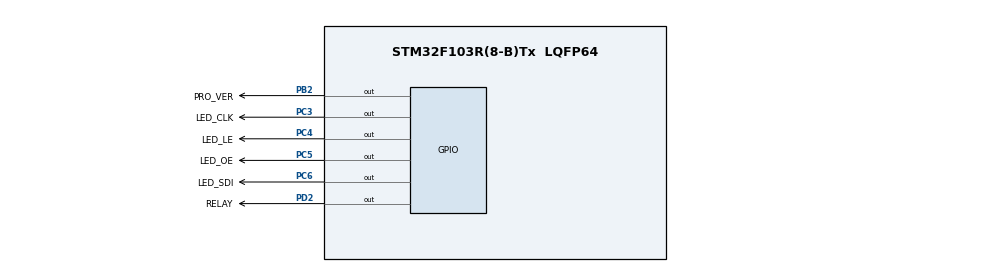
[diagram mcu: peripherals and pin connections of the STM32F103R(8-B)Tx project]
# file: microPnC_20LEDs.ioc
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Mcu.Family=STM32F1
Mcu.Name=STM32F103R(8-B)Tx
Mcu.Package=LQFP64
NVIC.PriorityGroup=NVIC_PRIORITYGROUP_4
NVIC.TIM2_IRQn=true\:0\:0\:false\:false\:true\:true\:true\:true
NVIC.TIM4_IRQn=true\:0\:0\:false\:false\:true\:true\:true\:true
PB10.Signal=USART3_TX
PB11.Signal=USART3_RX
PB2.GPIO_Label=PRO_VER
PB2.Signal=GPIO_Output
PC3.GPIO_Label=LED_CLK
PC3.Signal=GPIO_Output
PC4.GPIO_Label=LED_LE
PC4.Signal=GPIO_Output
PC5.GPIO_Label=LED_OE
PC5.Signal=GPIO_Output
PC6.GPIO_Label=LED_SDI
PC6.Signal=GPIO_Output
PD2.GPIO_Label=RELAY
PD2.Signal=GPIO_Output
ProjectManager.HeapSize=0x200
ProjectManager.StackSize=0x400
ProjectManager.TargetToolchain=STM32CubeIDE
RCC.AHBFreq_Value=8000000
RCC.APB1Freq_Value=8000000
RCC.APB1TimFreq_Value=8000000
RCC.APB2Freq_Value=8000000
RCC.APB2TimFreq_Value=8000000
RCC.HCLKFreq_Value=8000000
RCC.USBFreq_Value=8000000
TIM2.Period=9
TIM2.Prescaler=7999
TIM4.Period=499
TIM4.Prescaler=799
VP_TIM2_VS_ClockSourceINT.Mode=Internal
VP_TIM4_VS_ClockSourceINT.Mode=Internal
board=custom

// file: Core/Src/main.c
/* USER CODE BEGIN Header */
/**
  ******************************************************************************
  * @file           : main.c
  * @brief          : Main program body
  ******************************************************************************
  * @attention
  *
  * Copyright (c) 2022 STMicroelectronics.
  * All rights reserved.
  *
  * This software is licensed under terms that can be found in the LICENSE file
  * in the root directory of this software component.
  * If no LICENSE file comes with this software, it is provided AS-IS.
  *
  ******************************************************************************
  */
#include "buffer_manip.h"
#include "software_timer.h"
//#include "button_trigger.h"
/* USER CODE END Header */
#include "main.h"
#include "tim.h"
#include "gpio.h"

/* USER CODE BEGIN PD */
#define RELAY			 			PD2
#define LED_SDI 					PC6
#define LED_OE 						PC5
#define LED_CLK 					PC3
#define LED_LE 						PC4
#define PRO_VER						PB2

/* USER CODE END PD */

/* USER CODE BEGIN PM */
#define NUMBER_OF_LED				20
/* USER CODE END PM */

/* USER CODE BEGIN PV */
static uint8_t ledDriverBuffer[NUMBER_OF_LED] = {0,0,0,0,0,0,0,0,0,0,0,0,0,0,0,0,0,0,0,0};
/* USER CODE END PV */

void SystemClock_Config(void);
/* USER CODE BEGIN PFP */
void Led_Display(void);
void Update_Led_Driver_Buffer(void);
/* USER CODE END PFP */

int main(void)
{

  /* MCU Configuration--------------------------------------------------------*/

  /* Reset of all peripherals, Initializes the Flash interface and the Systick. */
  HAL_Init();

  /* Configure the system clock */
  SystemClock_Config();

  /* Initialize all configured peripherals */
  MX_GPIO_Init();
  MX_TIM2_Init();
  MX_TIM4_Init();
  /* USER CODE BEGIN 2 */
  HAL_TIM_Base_Start_IT(&htim2);
  HAL_TIM_Base_Start_IT(&htim4);
  Output_Enable();
  Relay_Enable();
  /* USER CODE END 2 */

  /* Infinite loop */
  /* USER CODE BEGIN WHILE */
  Set_Timer();
  while (1)
  {
	  if (Flag_Status() == 1){
		  Set_Timer();
		  Update_Led_Driver_Buffer();
		  Led_Display();
	  }
    /* USER CODE END WHILE */

  }
}

void SystemClock_Config(void)
{
  RCC_OscInitTypeDef RCC_OscInitStruct = {0};
  RCC_ClkInitTypeDef RCC_ClkInitStruct = {0};

  /** Initializes the RCC Oscillators according to the specified parameters
  * in the RCC_OscInitTypeDef structure.
  */
  RCC_OscInitStruct.OscillatorType = RCC_OSCILLATORTYPE_HSI;
  RCC_OscInitStruct.HSIState = RCC_HSI_ON;
  RCC_OscInitStruct.HSICalibrationValue = RCC_HSICALIBRATION_DEFAULT;
  RCC_OscInitStruct.PLL.PLLState = RCC_PLL_NONE;
  if (HAL_RCC_OscConfig(&RCC_OscInitStruct) != HAL_OK)
  {
    Error_Handler();
  }

  /** Initializes the CPU, AHB and APB buses clocks
  */
  RCC_ClkInitStruct.ClockType = RCC_CLOCKTYPE_HCLK|RCC_CLOCKTYPE_SYSCLK
                              |RCC_CLOCKTYPE_PCLK1|RCC_CLOCKTYPE_PCLK2;
  RCC_ClkInitStruct.SYSCLKSource = RCC_SYSCLKSOURCE_HSI;
  RCC_ClkInitStruct.AHBCLKDivider = RCC_SYSCLK_DIV1;
  RCC_ClkInitStruct.APB1CLKDivider = RCC_HCLK_DIV1;
  RCC_ClkInitStruct.APB2CLKDivider = RCC_HCLK_DIV1;

  if (HAL_RCC_ClockConfig(&RCC_ClkInitStruct, FLASH_LATENCY_0) != HAL_OK)
  {
    Error_Handler();
  }
}

/* USER CODE BEGIN 4 */
void Led_Display(void){
	Latch_Disable();
	for (uint8_t iter = 0; iter < NUMBER_OF_LED; iter++){
		Clock_Off(1);
		Data_Out(ledDriverBuffer[iter]);
		Clock_On(10);
	}
	Latch_Enable();
}
void Update_Led_Driver_Buffer(void){
	//Single_Led_Blink(ledDriverBuffer, NUMBER_OF_LED);
	//All_Led_On(ledDriverBuffer, NUMBER_OF_LED);
	//All_Red_On(ledDriverBuffer, NUMBER_OF_LED);
	//All_Green_On(ledDriverBuffer, NUMBER_OF_LED);
	All_Red_Blink(ledDriverBuffer, NUMBER_OF_LED);
	//All_Green_Blink(ledDriverBuffer, NUMBER_OF_LED);
	//Red_Moving_Forward(ledDriverBuffer, NUMBER_OF_LED);
	//Green_Moving_Forward(ledDriverBuffer, NUMBER_OF_LED);
	//Green_Moving_Backward(ledDriverBuffer, NUMBER_OF_LED);
	//Red_Moving_Backward(ledDriverBuffer, NUMBER_OF_LED);
	//Red_Backward_Green_Forward(ledDriverBuffer, NUMBER_OF_LED);
	//Red_Forward_Green_Backward(ledDriverBuffer, NUMBER_OF_LED);
	//All_Led_Moving_Backward(ledDriverBuffer, NUMBER_OF_LED);
	//All_Led_Moving_Forward(ledDriverBuffer, NUMBER_OF_LED);
	//Red_Moving_Middle(ledDriverBuffer, NUMBER_OF_LED);
	//Green_Moving_Middle(ledDriverBuffer, NUMBER_OF_LED);
	//All_Led_Moving_Middle(ledDriverBuffer,NUMBER_OF_LED);
	//Red_Cummulative_Forward(ledDriverBuffer, NUMBER_OF_LED);
	//Red_Cummulative_Backward(ledDriverBuffer, NUMBER_OF_LED);
	//Green_Cummulative_Forward(ledDriverBuffer, NUMBER_OF_LED);
	//Green_Cummulative_Backward(ledDriverBuffer, NUMBER_OF_LED);
	//Red_Forward_Green_Backward_Cumm(ledDriverBuffer, NUMBER_OF_LED);
	//Red_Backward_Green_Forward_Cumm(ledDriverBuffer, NUMBER_OF_LED);
	//All_Led_Cummulative_Forward(ledDriverBuffer, NUMBER_OF_LED);
	//All_Led_Cummulative_Backward(ledDriverBuffer, NUMBER_OF_LED);
	//Half_Mixing_Alternative(ledDriverBuffer, NUMBER_OF_LED);
}

void HAL_TIM_PeriodElapsedCallback(TIM_HandleTypeDef *htim){
	if(htim->Instance == TIM2){
		Timer_Run();
	}
	if(htim->Instance == TIM4){}
}
/* USER CODE END 4 */

void Error_Handler(void)
{
  __disable_irq();
  while (1)
  {
  }
}
